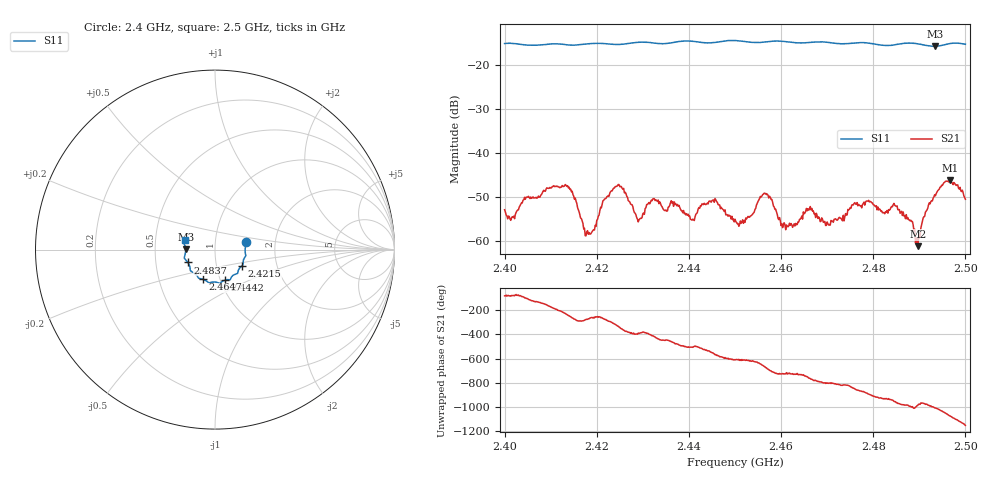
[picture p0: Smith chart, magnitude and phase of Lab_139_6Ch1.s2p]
# Hz S RI R 50
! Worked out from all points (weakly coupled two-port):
!   601 points, 2.4 GHz to 2.5 GHz, reference 50 ohm
!   highest |S21| = -46.17 dB at 2.4967 GHz (marker M1); lowest = -61.2 dB at 2.4897 GHz (marker M2)
!   lowest |S11| = -15.7 dB at 2.4933 GHz (marker M3), VSWR 1.39, Z = 35.9 + j0.0968 ohm
!   |S11| at or under -10 dB: start of sweep to end of sweep
!   S12 and S22 are empty: the file has one direction only
!   S11 on the Smith chart (normalised r, x): 2.4 GHz: 1.41, +0.12; 2.4215 GHz: 1.33, -0.25; 2.4442 GHz: 1.05, -0.37; 2.4647 GHz: 0.83, -0.28; 2.4837 GHz: 0.73, -0.11; 2.5 GHz: 0.71, +0.08
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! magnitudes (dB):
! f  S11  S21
! 2.4 GHz  -15.1  -52.9
! 2.4132 GHz  -15.3  -47.2
! 2.4167 GHz  -15.3  -54.9
! 2.419 GHz  -15.1  -57.9
! 2.4215 GHz  -15.1  -50.8
! 2.425 GHz  -15.3  -47.7
! 2.4292 GHz  -14.8  -55.2
! 2.4333 GHz  -15.1  -50.7
! 2.4408 GHz  -14.6  -55.1
! 2.4442 GHz  -15.0  -51.6
! 2.45 GHz  -14.4  -55.1
! 2.4565 GHz  -14.8  -49.3
! 2.4605 GHz  -14.6  -56.4
! 2.4647 GHz  -15.0  -55.1
! 2.4667 GHz  -14.8  -52.6
! 2.4702 GHz  -14.8  -56.1
! 2.4833 GHz  -15.6  -52.9
! 2.4837 GHz  -15.5  -52.9
! 2.4897 GHz  -15.2  -61.2
! 2.4933 GHz  -15.7  -49.5
! 2.4967 GHz  -15.1  -46.2
! 2.5 GHz  -15.3  -50.6
